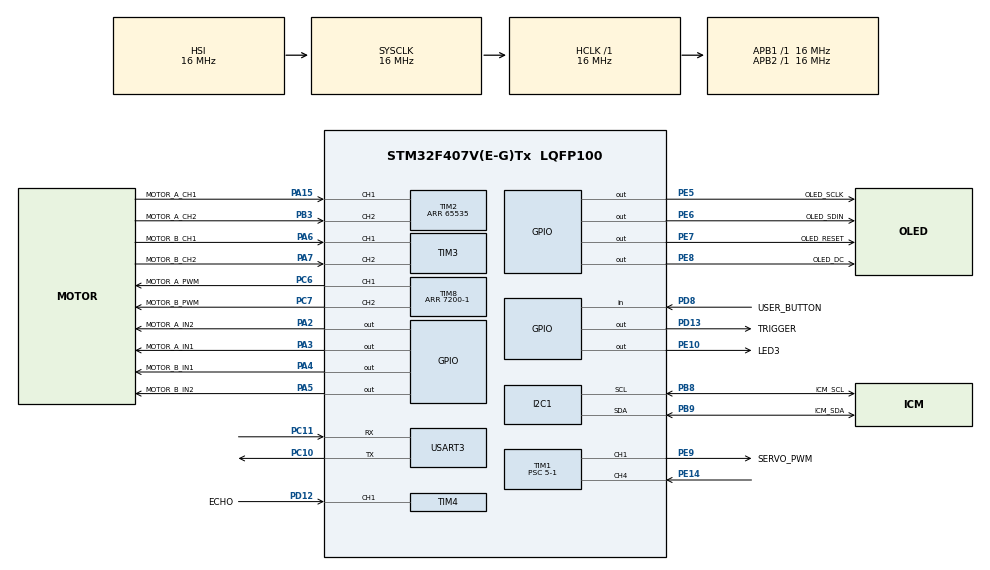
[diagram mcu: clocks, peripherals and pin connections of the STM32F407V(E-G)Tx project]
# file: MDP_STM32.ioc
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I2C1.I2C_Mode=I2C_Standard
Mcu.Family=STM32F4
Mcu.Name=STM32F407V(E-G)Tx
Mcu.Package=LQFP100
NVIC.PriorityGroup=NVIC_PRIORITYGROUP_4
NVIC.RCC_IRQn=true\:0\:0\:false\:false\:true\:true\:false\:true
NVIC.TIM1_CC_IRQn=true\:0\:0\:false\:false\:true\:true\:true\:true
NVIC.TIM4_IRQn=true\:0\:0\:false\:false\:true\:true\:true\:true
NVIC.USART3_IRQn=true\:0\:0\:false\:false\:true\:true\:true\:true
PA13.Mode=Serial_Wire
PA13.Signal=SYS_JTMS-SWDIO
PA14.Mode=Serial_Wire
PA14.Signal=SYS_JTCK-SWCLK
PA15.GPIO_Label=MOTOR_A_CH1
PA15.Signal=S_TIM2_CH1_ETR
PA2.GPIO_Label=MOTOR_A_IN2
PA2.Signal=GPIO_Output
PA3.GPIO_Label=MOTOR_A_IN1
PA3.Signal=GPIO_Output
PA4.GPIO_Label=MOTOR_B_IN1
PA4.Signal=GPIO_Output
PA5.GPIO_Label=MOTOR_B_IN2
PA5.Signal=GPIO_Output
PA6.GPIO_Label=MOTOR_B_CH1
PA6.Signal=S_TIM3_CH1
PA7.GPIO_Label=MOTOR_B_CH2
PA7.Signal=S_TIM3_CH2
PB3.GPIO_Label=MOTOR_A_CH2
PB3.Signal=S_TIM2_CH2
PB8.GPIO_Label=ICM_SCL
PB8.Mode=I2C
PB8.Signal=I2C1_SCL
PB9.GPIO_Label=ICM_SDA
PB9.Mode=I2C
PB9.Signal=I2C1_SDA
PC10.Mode=Asynchronous
PC10.Signal=USART3_TX
PC11.Mode=Asynchronous
PC11.Signal=USART3_RX
PC6.GPIO_Label=MOTOR_A_PWM
PC6.Signal=S_TIM8_CH1
PC7.GPIO_Label=MOTOR_B_PWM
PC7.Signal=S_TIM8_CH2
PD12.GPIO_Label=ECHO
PD12.Signal=S_TIM4_CH1
PD13.GPIO_Label=TRIGGER
PD13.Signal=GPIO_Output
PD8.GPIO_Label=USER_BUTTON
PD8.Signal=GPIO_Input
PE10.GPIO_Label=LED3
PE10.Signal=GPIO_Output
PE14.Signal=S_TIM1_CH4
PE5.GPIO_Label=OLED_SCLK
PE5.Signal=GPIO_Output
PE6.GPIO_Label=OLED_SDIN
PE6.Signal=GPIO_Output
PE7.GPIO_Label=OLED_RESET
PE7.Signal=GPIO_Output
PE8.GPIO_Label=OLED_DC
PE8.Signal=GPIO_Output
PE9.GPIO_Label=SERVO_PWM
PE9.Signal=S_TIM1_CH1
PH0-OSC_IN.Mode=HSE-External-Oscillator
PH0-OSC_IN.Signal=RCC_OSC_IN
PH1-OSC_OUT.Mode=HSE-External-Oscillator
PH1-OSC_OUT.Signal=RCC_OSC_OUT
ProjectManager.HeapSize=0x200
ProjectManager.StackSize=0x400
ProjectManager.TargetToolchain=STM32CubeIDE
RCC.AHBFreq_Value=16000000
RCC.APB1Freq_Value=16000000
RCC.APB1TimFreq_Value=16000000
RCC.APB2Freq_Value=16000000
RCC.CortexFreq_Value=16000000
RCC.HSE_VALUE=25000000
RCC.HSI_VALUE=16000000
RCC.LSE_VALUE=32768
RCC.SYSCLKFreq_VALUE=16000000
RCC.VCOOutputFreq_Value=192000000
SH.S_TIM1_CH1.0=TIM1_CH1,PWM Generation1 CH1
SH.S_TIM1_CH4.0=TIM1_CH4,Input_Capture4_from_TI4
SH.S_TIM2_CH1_ETR.0=TIM2_CH1,Encoder_Interface
SH.S_TIM2_CH2.0=TIM2_CH2,Encoder_Interface
SH.S_TIM3_CH1.0=TIM3_CH1,Encoder_Interface
SH.S_TIM3_CH2.0=TIM3_CH2,Encoder_Interface
SH.S_TIM4_CH1.0=TIM4_CH1,Input_Capture1_from_TI1
SH.S_TIM8_CH1.0=TIM8_CH1,PWM Generation1 CH1
SH.S_TIM8_CH2.0=TIM8_CH2,PWM Generation2 CH2
TIM1.AutoReloadPreload=TIM_AUTORELOAD_PRELOAD_DISABLE
TIM1.Channel-Input_Capture4_from_TI4=TIM_CHANNEL_4
TIM1.Channel-PWM\ Generation1\ CH1=TIM_CHANNEL_1
TIM1.ICPolarity_CH4=TIM_INPUTCHANNELPOLARITY_BOTHEDGE
TIM1.Period=64000-1
TIM1.Prescaler=5-1
TIM2.EncoderMode=TIM_ENCODERMODE_TI12
TIM2.Period=65535
TIM3.EncoderMode=TIM_ENCODERMODE_TI12
TIM4.Channel-Input_Capture1_from_TI1=TIM_CHANNEL_1
TIM4.Prescaler=0
TIM6.Prescaler=16-1
TIM8.Channel-PWM\ Generation1\ CH1=TIM_CHANNEL_1
TIM8.Channel-PWM\ Generation2\ CH2=TIM_CHANNEL_2
TIM8.Period=7200-1
USART3.VirtualMode=VM_ASYNC
VP_TIM1_VS_ClockSourceINT.Mode=Internal
VP_TIM4_VS_ClockSourceINT.Mode=Internal
VP_TIM6_VS_ClockSourceINT.Mode=Enable_Timer
VP_TIM8_VS_ClockSourceINT.Mode=Internal
board=custom

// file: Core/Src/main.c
/* USER CODE BEGIN Header */
/**
  ******************************************************************************
  * @file           : main.c
  * @brief          : Main program body
  ******************************************************************************
  * @attention
  *
  * Copyright (c) 2024 STMicroelectronics.
  * All rights reserved.
  *
  * This software is licensed under terms that can be found in the LICENSE file
  * in the root directory of this software component.
  * If no LICENSE file comes with this software, it is provided AS-IS.
  *
  ******************************************************************************
  */
/* USER CODE END Header */
#include "main.h"

/* USER CODE BEGIN Includes */
#include "ICM20948.h"
#include "oled.h"
#include "helper.h"
#include "servo.h"
#include "test.h"
/* USER CODE END Includes */

I2C_HandleTypeDef hi2c1;

TIM_HandleTypeDef htim1;
TIM_HandleTypeDef htim2;
TIM_HandleTypeDef htim3;
TIM_HandleTypeDef htim4;
TIM_HandleTypeDef htim6;
TIM_HandleTypeDef htim8;

UART_HandleTypeDef huart3;

/* USER CODE BEGIN PV */
// Buffers
uint8_t buffer[100];

// For counting time HAL_GetTick()
uint32_t last_tick = 0;

// For the ultrasonic sensor
uint32_t tc1 = 0, tc2 = 0, echo = 0;
float dist = 0.0;
bool is_first_captured = false;

// Sensors (Gyroscope)
sensor_t sensor;
uint8_t readGyroZData[2] = {0};
int32_t gyroZ = 0;
int16_t gyro_target_angle = 0, gyro_angle = 0;

// Count the number of commands
uint8_t cmd_buffer[1000] = {0};
uint8_t cmd_cnt = 0;
uint8_t receive[1];
int head = -1, curr = -1;
uint8_t current_cmd = 0;
/* USER CODE END PV */

void SystemClock_Config(void);
static void MX_GPIO_Init(void);
static void MX_USART3_UART_Init(void);
static void MX_TIM1_Init(void);
static void MX_TIM2_Init(void);
static void MX_TIM8_Init(void);
static void MX_TIM3_Init(void);
static void MX_I2C1_Init(void);
static void MX_TIM6_Init(void);
static void MX_TIM4_Init(void);

/* USER CODE BEGIN 0 */
void delay_us(uint16_t us) {
  __HAL_TIM_SET_COUNTER(&htim4, 0);
  while(__HAL_TIM_GET_COUNTER(&htim4) < us);
}

// Call when u want to get reading from Ultrasonic Sensor
void HCSR04_Read() {
  HAL_GPIO_WritePin(TRIGGER_GPIO_Port, TRIGGER_Pin, GPIO_PIN_SET);     // pull the TRIG pin HIGH
  delay_us(10);                                                        // wait for 10 us
  HAL_GPIO_WritePin(TRIGGER_GPIO_Port, TRIGGER_Pin, GPIO_PIN_RESET);   // pull the TRIG pin low
  __HAL_TIM_ENABLE_IT(&htim4, TIM_IT_CC1);
}

void HAL_TIM_IC_CaptureCallback(TIM_HandleTypeDef* htim_ptr) {
    if (htim_ptr->Channel != HAL_TIM_ACTIVE_CHANNEL_1)
        return;

    OLED_Clear();
    print_OLED(0, 0, "Enter capture", false, 0);

    if (!is_first_captured) {                                       // If the first value is not captured
        tc1 = HAL_TIM_ReadCapturedValue(htim_ptr, TIM_CHANNEL_1);   // read the first value
        is_first_captured = true;                                   // set the first captured as true
        // Now change the polarity to falling edge
        __HAL_TIM_SET_CAPTUREPOLARITY(htim_ptr, TIM_CHANNEL_1, TIM_INPUTCHANNELPOLARITY_FALLING);
    } else if (is_first_captured) {                                 // If the first is already captured
        tc2 = HAL_TIM_ReadCapturedValue(htim_ptr, TIM_CHANNEL_1);   // read second value
        __HAL_TIM_SET_COUNTER(htim_ptr, 0);                         // reset the counter

        echo = (tc2 > tc1) ? (tc2 - tc1) : (64000 - tc1 + tc2);
        dist = ((float)echo) * 0.034/2;
        is_first_captured = false;                                // set it back to false

        // Set polarity to rising edge
        __HAL_TIM_SET_CAPTUREPOLARITY(htim_ptr, TIM_CHANNEL_1, TIM_INPUTCHANNELPOLARITY_RISING);
        __HAL_TIM_DISABLE_IT(&htim4, TIM_IT_CC1);
    }
}

void HAL_UART_RxCpltCallback(UART_HandleTypeDef* huart) {
  curr++;
  cmd_buffer[curr] = receive[0];
  cmd_cnt++;

  HAL_UART_Receive_IT(&huart3, receive, sizeof(receive));
}
/* USER CODE END 0 */

int main(void)
{

  /* USER CODE BEGIN 1 */
  // Turn on LED3 to check whether the STM32 board works or not
  HAL_GPIO_WritePin(LED3_GPIO_Port, LED3_Pin, GPIO_PIN_RESET);
  /* USER CODE END 1 */

  /* MCU Configuration--------------------------------------------------------*/

  /* Reset of all peripherals, Initializes the Flash interface and the Systick. */
  HAL_Init();

  /* Configure the system clock */
  SystemClock_Config();

  /* Initialize all configured peripherals */
  MX_GPIO_Init();
  MX_USART3_UART_Init();
  MX_TIM1_Init();
  MX_TIM2_Init();
  MX_TIM8_Init();
  MX_TIM3_Init();
  MX_I2C1_Init();
  MX_TIM6_Init();
  MX_TIM4_Init();
  /* USER CODE BEGIN 2 */

  // Initialize peripherals
  OLED_Init();
  ICM20948_init(&hi2c1, 0, GYRO_FULL_SCALE_2000DPS);
  motor_init(&htim8, &htim2, &htim3);
  servo_init(&htim1);
  // sensors_init(&hi2c1, &htim4, &sensor);

  // Delay loop for generating a 10us pulse (TIM6)
  //HAL_TIM_Base_Start(&htim6);

  // USER button
  OLED_ShowString(0, 0, "Press USER btn");
  OLED_ShowString(0, 15, "to continue");
  OLED_Refresh_Gram();
  servo_set_dir(STRAIGHT);

  while (!is_USER_button_pressed());
  OLED_Clear();
  motor_set_speed(50);

  // Start the interrupt for UART3
  HAL_UART_Receive_IT(&huart3, receive, sizeof(receive));
	HAL_TIM_IC_Start_IT(&htim4, TIM_CHANNEL_1);

	print_OLED(0, 0, "tc1:", false, 0);
	print_OLED(0, 15, "tc2:", false, 0);
	print_OLED(0, 30, "echo:", false, 0);
	print_OLED(0, 45, "dist:", false, 0);

	while (1) {
		HCSR04_Read();

		print_OLED(40, 0, "%u", true, tc1);
		print_OLED(40, 15, "%u", true, tc2);
		print_OLED(40, 30, "%u", true, echo);
		print_OLED(40, 45, "%.3f", true, dist);
		HAL_Delay(100);
	}
  // One-time Task
  //forward_pid(40);
  // print_OLED(0, 0, "gyroZ:", false, 0);
  // print_OLED(0, 15, "angle:", false, 0);
  // print_OLED(0, 30, "g-t:", false, 0);
  //gyroscope_task(90);
  //count_encoder_task();
//  forward_right();
//  servo_set_dir(LEFT);

  /* USER CODE END 2 */

  /* Infinite loop */
  while (1)
  {

  }
}

void SystemClock_Config(void)
{
  RCC_OscInitTypeDef RCC_OscInitStruct = {0};
  RCC_ClkInitTypeDef RCC_ClkInitStruct = {0};

  /** Configure the main internal regulator output voltage
  */
  __HAL_RCC_PWR_CLK_ENABLE();
  __HAL_PWR_VOLTAGESCALING_CONFIG(PWR_REGULATOR_VOLTAGE_SCALE1);

  /** Initializes the RCC Oscillators according to the specified parameters
  * in the RCC_OscInitTypeDef structure.
  */
  RCC_OscInitStruct.OscillatorType = RCC_OSCILLATORTYPE_HSI;
  RCC_OscInitStruct.HSIState = RCC_HSI_ON;
  RCC_OscInitStruct.HSICalibrationValue = RCC_HSICALIBRATION_DEFAULT;
  RCC_OscInitStruct.PLL.PLLState = RCC_PLL_NONE;
  if (HAL_RCC_OscConfig(&RCC_OscInitStruct) != HAL_OK)
  {
    Error_Handler();
  }

  /** Initializes the CPU, AHB and APB buses clocks
  */
  RCC_ClkInitStruct.ClockType = RCC_CLOCKTYPE_HCLK|RCC_CLOCKTYPE_SYSCLK
                              |RCC_CLOCKTYPE_PCLK1|RCC_CLOCKTYPE_PCLK2;
  RCC_ClkInitStruct.SYSCLKSource = RCC_SYSCLKSOURCE_HSI;
  RCC_ClkInitStruct.AHBCLKDivider = RCC_SYSCLK_DIV1;
  RCC_ClkInitStruct.APB1CLKDivider = RCC_HCLK_DIV1;
  RCC_ClkInitStruct.APB2CLKDivider = RCC_HCLK_DIV1;

  if (HAL_RCC_ClockConfig(&RCC_ClkInitStruct, FLASH_LATENCY_0) != HAL_OK)
  {
    Error_Handler();
  }
}

static void MX_I2C1_Init(void)
{

  hi2c1.Instance = I2C1;
  hi2c1.Init.ClockSpeed = 100000;
  hi2c1.Init.DutyCycle = I2C_DUTYCYCLE_2;
  hi2c1.Init.OwnAddress1 = 0;
  hi2c1.Init.AddressingMode = I2C_ADDRESSINGMODE_7BIT;
  hi2c1.Init.DualAddressMode = I2C_DUALADDRESS_DISABLE;
  hi2c1.Init.OwnAddress2 = 0;
  hi2c1.Init.GeneralCallMode = I2C_GENERALCALL_DISABLE;
  hi2c1.Init.NoStretchMode = I2C_NOSTRETCH_DISABLE;
  if (HAL_I2C_Init(&hi2c1) != HAL_OK)
  {
    Error_Handler();
  }

}

static void MX_TIM1_Init(void)
{

  TIM_ClockConfigTypeDef sClockSourceConfig = {0};
  TIM_MasterConfigTypeDef sMasterConfig = {0};
  TIM_OC_InitTypeDef sConfigOC = {0};
  TIM_IC_InitTypeDef sConfigIC = {0};
  TIM_BreakDeadTimeConfigTypeDef sBreakDeadTimeConfig = {0};

  htim1.Instance = TIM1;
  htim1.Init.Prescaler = 5-1;
  htim1.Init.CounterMode = TIM_COUNTERMODE_UP;
  htim1.Init.Period = 64000-1;
  htim1.Init.ClockDivision = TIM_CLOCKDIVISION_DIV1;
  htim1.Init.RepetitionCounter = 0;
  htim1.Init.AutoReloadPreload = TIM_AUTORELOAD_PRELOAD_DISABLE;
  if (HAL_TIM_Base_Init(&htim1) != HAL_OK)
  {
    Error_Handler();
  }
  sClockSourceConfig.ClockSource = TIM_CLOCKSOURCE_INTERNAL;
  if (HAL_TIM_ConfigClockSource(&htim1, &sClockSourceConfig) != HAL_OK)
  {
    Error_Handler();
  }
  if (HAL_TIM_PWM_Init(&htim1) != HAL_OK)
  {
    Error_Handler();
  }
  if (HAL_TIM_IC_Init(&htim1) != HAL_OK)
  {
    Error_Handler();
  }
  sMasterConfig.MasterOutputTrigger = TIM_TRGO_RESET;
  sMasterConfig.MasterSlaveMode = TIM_MASTERSLAVEMODE_DISABLE;
  if (HAL_TIMEx_MasterConfigSynchronization(&htim1, &sMasterConfig) != HAL_OK)
  {
    Error_Handler();
  }
  sConfigOC.OCMode = TIM_OCMODE_PWM1;
  sConfigOC.Pulse = 0;
  sConfigOC.OCPolarity = TIM_OCPOLARITY_HIGH;
  sConfigOC.OCNPolarity = TIM_OCNPOLARITY_HIGH;
  sConfigOC.OCFastMode = TIM_OCFAST_DISABLE;
  sConfigOC.OCIdleState = TIM_OCIDLESTATE_RESET;
  sConfigOC.OCNIdleState = TIM_OCNIDLESTATE_RESET;
  if (HAL_TIM_PWM_ConfigChannel(&htim1, &sConfigOC, TIM_CHANNEL_1) != HAL_OK)
  {
    Error_Handler();
  }
  sConfigIC.ICPolarity = TIM_INPUTCHANNELPOLARITY_BOTHEDGE;
  sConfigIC.ICSelection = TIM_ICSELECTION_DIRECTTI;
  sConfigIC.ICPrescaler = TIM_ICPSC_DIV1;
  sConfigIC.ICFilter = 0;
  if (HAL_TIM_IC_ConfigChannel(&htim1, &sConfigIC, TIM_CHANNEL_4) != HAL_OK)
  {
    Error_Handler();
  }
  sBreakDeadTimeConfig.OffStateRunMode = TIM_OSSR_DISABLE;
  sBreakDeadTimeConfig.OffStateIDLEMode = TIM_OSSI_DISABLE;
  sBreakDeadTimeConfig.LockLevel = TIM_LOCKLEVEL_OFF;
  sBreakDeadTimeConfig.DeadTime = 0;
  sBreakDeadTimeConfig.BreakState = TIM_BREAK_DISABLE;
  sBreakDeadTimeConfig.BreakPolarity = TIM_BREAKPOLARITY_HIGH;
  sBreakDeadTimeConfig.AutomaticOutput = TIM_AUTOMATICOUTPUT_DISABLE;
  if (HAL_TIMEx_ConfigBreakDeadTime(&htim1, &sBreakDeadTimeConfig) != HAL_OK)
  {
    Error_Handler();
  }
  HAL_TIM_MspPostInit(&htim1);

}

static void MX_TIM2_Init(void)
{

  TIM_Encoder_InitTypeDef sConfig = {0};
  TIM_MasterConfigTypeDef sMasterConfig = {0};

  htim2.Instance = TIM2;
  htim2.Init.Prescaler = 0;
  htim2.Init.CounterMode = TIM_COUNTERMODE_UP;
  htim2.Init.Period = 65535;
  htim2.Init.ClockDivision = TIM_CLOCKDIVISION_DIV1;
  htim2.Init.AutoReloadPreload = TIM_AUTORELOAD_PRELOAD_DISABLE;
  sConfig.EncoderMode = TIM_ENCODERMODE_TI12;
  sConfig.IC1Polarity = TIM_ICPOLARITY_RISING;
  sConfig.IC1Selection = TIM_ICSELECTION_DIRECTTI;
  sConfig.IC1Prescaler = TIM_ICPSC_DIV1;
  sConfig.IC1Filter = 0;
  sConfig.IC2Polarity = TIM_ICPOLARITY_RISING;
  sConfig.IC2Selection = TIM_ICSELECTION_DIRECTTI;
  sConfig.IC2Prescaler = TIM_ICPSC_DIV1;
  sConfig.IC2Filter = 0;
  if (HAL_TIM_Encoder_Init(&htim2, &sConfig) != HAL_OK)
  {
    Error_Handler();
  }
  sMasterConfig.MasterOutputTrigger = TIM_TRGO_RESET;
  sMasterConfig.MasterSlaveMode = TIM_MASTERSLAVEMODE_DISABLE;
  if (HAL_TIMEx_MasterConfigSynchronization(&htim2, &sMasterConfig) != HAL_OK)
  {
    Error_Handler();
  }

}

static void MX_TIM3_Init(void)
{

  TIM_Encoder_InitTypeDef sConfig = {0};
  TIM_MasterConfigTypeDef sMasterConfig = {0};

  htim3.Instance = TIM3;
  htim3.Init.Prescaler = 0;
  htim3.Init.CounterMode = TIM_COUNTERMODE_UP;
  htim3.Init.Period = 65535;
  htim3.Init.ClockDivision = TIM_CLOCKDIVISION_DIV1;
  htim3.Init.AutoReloadPreload = TIM_AUTORELOAD_PRELOAD_DISABLE;
  sConfig.EncoderMode = TIM_ENCODERMODE_TI12;
  sConfig.IC1Polarity = TIM_ICPOLARITY_RISING;
  sConfig.IC1Selection = TIM_ICSELECTION_DIRECTTI;
  sConfig.IC1Prescaler = TIM_ICPSC_DIV1;
  sConfig.IC1Filter = 0;
  sConfig.IC2Polarity = TIM_ICPOLARITY_RISING;
  sConfig.IC2Selection = TIM_ICSELECTION_DIRECTTI;
  sConfig.IC2Prescaler = TIM_ICPSC_DIV1;
  sConfig.IC2Filter = 0;
  if (HAL_TIM_Encoder_Init(&htim3, &sConfig) != HAL_OK)
  {
    Error_Handler();
  }
  sMasterConfig.MasterOutputTrigger = TIM_TRGO_RESET;
  sMasterConfig.MasterSlaveMode = TIM_MASTERSLAVEMODE_DISABLE;
  if (HAL_TIMEx_MasterConfigSynchronization(&htim3, &sMasterConfig) != HAL_OK)
  {
    Error_Handler();
  }

}

static void MX_TIM4_Init(void)
{

  TIM_ClockConfigTypeDef sClockSourceConfig = {0};
  TIM_MasterConfigTypeDef sMasterConfig = {0};
  TIM_IC_InitTypeDef sConfigIC = {0};

  htim4.Instance = TIM4;
  htim4.Init.Prescaler = 0;
  htim4.Init.CounterMode = TIM_COUNTERMODE_UP;
  htim4.Init.Period = 65535;
  htim4.Init.ClockDivision = TIM_CLOCKDIVISION_DIV1;
  htim4.Init.AutoReloadPreload = TIM_AUTORELOAD_PRELOAD_DISABLE;
  if (HAL_TIM_Base_Init(&htim4) != HAL_OK)
  {
    Error_Handler();
  }
  sClockSourceConfig.ClockSource = TIM_CLOCKSOURCE_INTERNAL;
  if (HAL_TIM_ConfigClockSource(&htim4, &sClockSourceConfig) != HAL_OK)
  {
    Error_Handler();
  }
  if (HAL_TIM_IC_Init(&htim4) != HAL_OK)
  {
    Error_Handler();
  }
  sMasterConfig.MasterOutputTrigger = TIM_TRGO_RESET;
  sMasterConfig.MasterSlaveMode = TIM_MASTERSLAVEMODE_DISABLE;
  if (HAL_TIMEx_MasterConfigSynchronization(&htim4, &sMasterConfig) != HAL_OK)
  {
    Error_Handler();
  }
  sConfigIC.ICPolarity = TIM_INPUTCHANNELPOLARITY_RISING;
  sConfigIC.ICSelection = TIM_ICSELECTION_DIRECTTI;
  sConfigIC.ICPrescaler = TIM_ICPSC_DIV1;
  sConfigIC.ICFilter = 0;
  if (HAL_TIM_IC_ConfigChannel(&htim4, &sConfigIC, TIM_CHANNEL_1) != HAL_OK)
  {
    Error_Handler();
  }

}

static void MX_TIM6_Init(void)
{

  TIM_MasterConfigTypeDef sMasterConfig = {0};

  htim6.Instance = TIM6;
  htim6.Init.Prescaler = 16-1;
  htim6.Init.CounterMode = TIM_COUNTERMODE_UP;
  htim6.Init.Period = 65535;
  htim6.Init.AutoReloadPreload = TIM_AUTORELOAD_PRELOAD_DISABLE;
  if (HAL_TIM_Base_Init(&htim6) != HAL_OK)
  {
    Error_Handler();
  }
  sMasterConfig.MasterOutputTrigger = TIM_TRGO_RESET;
  sMasterConfig.MasterSlaveMode = TIM_MASTERSLAVEMODE_DISABLE;
  if (HAL_TIMEx_MasterConfigSynchronization(&htim6, &sMasterConfig) != HAL_OK)
  {
    Error_Handler();
  }

}

static void MX_TIM8_Init(void)
{

  TIM_ClockConfigTypeDef sClockSourceConfig = {0};
  TIM_MasterConfigTypeDef sMasterConfig = {0};
  TIM_OC_InitTypeDef sConfigOC = {0};
  TIM_BreakDeadTimeConfigTypeDef sBreakDeadTimeConfig = {0};

  htim8.Instance = TIM8;
  htim8.Init.Prescaler = 0;
  htim8.Init.CounterMode = TIM_COUNTERMODE_UP;
  htim8.Init.Period = 7200-1;
  htim8.Init.ClockDivision = TIM_CLOCKDIVISION_DIV1;
  htim8.Init.RepetitionCounter = 0;
  htim8.Init.AutoReloadPreload = TIM_AUTORELOAD_PRELOAD_DISABLE;
  if (HAL_TIM_Base_Init(&htim8) != HAL_OK)
  {
    Error_Handler();
  }
  sClockSourceConfig.ClockSource = TIM_CLOCKSOURCE_INTERNAL;
  if (HAL_TIM_ConfigClockSource(&htim8, &sClockSourceConfig) != HAL_OK)
  {
    Error_Handler();
  }
  if (HAL_TIM_PWM_Init(&htim8) != HAL_OK)
  {
    Error_Handler();
  }
  sMasterConfig.MasterOutputTrigger = TIM_TRGO_RESET;
  sMasterConfig.MasterSlaveMode = TIM_MASTERSLAVEMODE_DISABLE;
  if (HAL_TIMEx_MasterConfigSynchronization(&htim8, &sMasterConfig) != HAL_OK)
  {
    Error_Handler();
  }
  sConfigOC.OCMode = TIM_OCMODE_PWM1;
  sConfigOC.Pulse = 0;
  sConfigOC.OCPolarity = TIM_OCPOLARITY_HIGH;
  sConfigOC.OCNPolarity = TIM_OCNPOLARITY_HIGH;
  sConfigOC.OCFastMode = TIM_OCFAST_DISABLE;
  sConfigOC.OCIdleState = TIM_OCIDLESTATE_RESET;
  sConfigOC.OCNIdleState = TIM_OCNIDLESTATE_RESET;
  if (HAL_TIM_PWM_ConfigChannel(&htim8, &sConfigOC, TIM_CHANNEL_1) != HAL_OK)
  {
    Error_Handler();
  }
  if (HAL_TIM_PWM_ConfigChannel(&htim8, &sConfigOC, TIM_CHANNEL_2) != HAL_OK)
  {
    Error_Handler();
  }
  sBreakDeadTimeConfig.OffStateRunMode = TIM_OSSR_DISABLE;
  sBreakDeadTimeConfig.OffStateIDLEMode = TIM_OSSI_DISABLE;
  sBreakDeadTimeConfig.LockLevel = TIM_LOCKLEVEL_OFF;
  sBreakDeadTimeConfig.DeadTime = 0;
  sBreakDeadTimeConfig.BreakState = TIM_BREAK_DISABLE;
  sBreakDeadTimeConfig.BreakPolarity = TIM_BREAKPOLARITY_HIGH;
  sBreakDeadTimeConfig.AutomaticOutput = TIM_AUTOMATICOUTPUT_DISABLE;
  if (HAL_TIMEx_ConfigBreakDeadTime(&htim8, &sBreakDeadTimeConfig) != HAL_OK)
  {
    Error_Handler();
  }
  HAL_TIM_MspPostInit(&htim8);

}

static void MX_USART3_UART_Init(void)
{

  huart3.Instance = USART3;
  huart3.Init.BaudRate = 115200;
  huart3.Init.WordLength = UART_WORDLENGTH_8B;
  huart3.Init.StopBits = UART_STOPBITS_1;
  huart3.Init.Parity = UART_PARITY_NONE;
  huart3.Init.Mode = UART_MODE_TX_RX;
  huart3.Init.HwFlowCtl = UART_HWCONTROL_NONE;
  huart3.Init.OverSampling = UART_OVERSAMPLING_16;
  if (HAL_UART_Init(&huart3) != HAL_OK)
  {
    Error_Handler();
  }

}

static void MX_GPIO_Init(void)
{
  GPIO_InitTypeDef GPIO_InitStruct = {0};

  /* GPIO Ports Clock Enable */
  __HAL_RCC_GPIOE_CLK_ENABLE();
  __HAL_RCC_GPIOH_CLK_ENABLE();
  __HAL_RCC_GPIOA_CLK_ENABLE();
  __HAL_RCC_GPIOD_CLK_ENABLE();
  __HAL_RCC_GPIOC_CLK_ENABLE();
  __HAL_RCC_GPIOB_CLK_ENABLE();

  /*Configure GPIO pin Output Level */
  HAL_GPIO_WritePin(GPIOE, OLED_SCLK_Pin|OLED_SDIN_Pin|OLED_RESET_Pin|OLED_DC_Pin
                          |LED3_Pin, GPIO_PIN_RESET);

  /*Configure GPIO pin Output Level */
  HAL_GPIO_WritePin(GPIOA, MOTOR_A_IN2_Pin|MOTOR_A_IN1_Pin|MOTOR_B_IN1_Pin|MOTOR_B_IN2_Pin, GPIO_PIN_RESET);

  /*Configure GPIO pin Output Level */
  HAL_GPIO_WritePin(TRIGGER_GPIO_Port, TRIGGER_Pin, GPIO_PIN_RESET);

  /*Configure GPIO pins : OLED_SCLK_Pin OLED_SDIN_Pin OLED_RESET_Pin OLED_DC_Pin
                           LED3_Pin */
  GPIO_InitStruct.Pin = OLED_SCLK_Pin|OLED_SDIN_Pin|OLED_RESET_Pin|OLED_DC_Pin
                          |LED3_Pin;
  GPIO_InitStruct.Mode = GPIO_MODE_OUTPUT_PP;
  GPIO_InitStruct.Pull = GPIO_NOPULL;
  GPIO_InitStruct.Speed = GPIO_SPEED_FREQ_LOW;
  HAL_GPIO_Init(GPIOE, &GPIO_InitStruct);

  /*Configure GPIO pins : MOTOR_A_IN2_Pin MOTOR_A_IN1_Pin MOTOR_B_IN1_Pin MOTOR_B_IN2_Pin */
  GPIO_InitStruct.Pin = MOTOR_A_IN2_Pin|MOTOR_A_IN1_Pin|MOTOR_B_IN1_Pin|MOTOR_B_IN2_Pin;
  GPIO_InitStruct.Mode = GPIO_MODE_OUTPUT_PP;
  GPIO_InitStruct.Pull = GPIO_NOPULL;
  GPIO_InitStruct.Speed = GPIO_SPEED_FREQ_LOW;
  HAL_GPIO_Init(GPIOA, &GPIO_InitStruct);

  /*Configure GPIO pin : USER_BUTTON_Pin */
  GPIO_InitStruct.Pin = USER_BUTTON_Pin;
  GPIO_InitStruct.Mode = GPIO_MODE_INPUT;
  GPIO_InitStruct.Pull = GPIO_NOPULL;
  HAL_GPIO_Init(USER_BUTTON_GPIO_Port, &GPIO_InitStruct);

  /*Configure GPIO pin : TRIGGER_Pin */
  GPIO_InitStruct.Pin = TRIGGER_Pin;
  GPIO_InitStruct.Mode = GPIO_MODE_OUTPUT_PP;
  GPIO_InitStruct.Pull = GPIO_NOPULL;
  GPIO_InitStruct.Speed = GPIO_SPEED_FREQ_LOW;
  HAL_GPIO_Init(TRIGGER_GPIO_Port, &GPIO_InitStruct);

}

void Error_Handler(void)
{
  __disable_irq();
  while (1)
  {
  }
}
